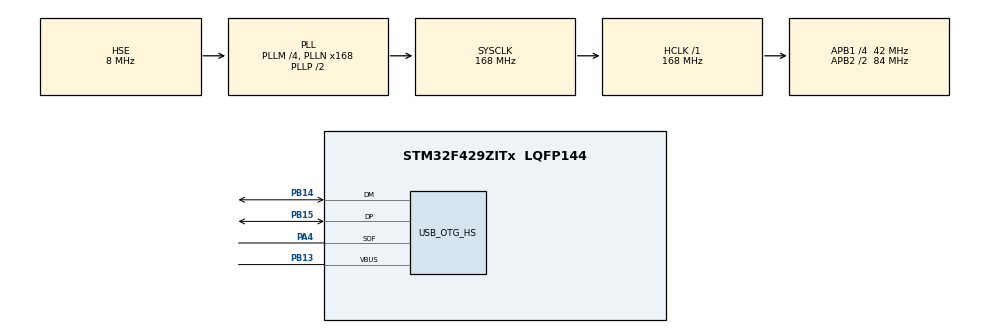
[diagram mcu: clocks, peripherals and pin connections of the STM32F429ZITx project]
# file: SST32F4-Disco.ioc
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Mcu.Family=STM32F4
Mcu.Name=STM32F429ZITx
Mcu.Package=LQFP144
NVIC.OTG_HS_IRQn=true\:0\:0\:false\:false\:true\:false\:true\:true
NVIC.PriorityGroup=NVIC_PRIORITYGROUP_0
PA13.Mode=Serial_Wire
PA13.Signal=SYS_JTMS-SWDIO
PA14.Mode=Serial_Wire
PA14.Signal=SYS_JTCK-SWCLK
PA4.Mode=Activate_SOF_FS
PA4.Signal=USB_OTG_HS_SOF
PB13.Mode=Activate_VBUS_FS
PB13.Signal=USB_OTG_HS_VBUS
PB14.Mode=Device_Only_FS
PB14.Signal=USB_OTG_HS_DM
PB15.Mode=Device_Only_FS
PB15.Signal=USB_OTG_HS_DP
PC14/OSC32_IN.Mode=LSE-External-Oscillator
PC14/OSC32_IN.Signal=RCC_OSC32_IN
PC15/OSC32_OUT.Mode=LSE-External-Oscillator
PC15/OSC32_OUT.Signal=RCC_OSC32_OUT
PH0/OSC_IN.Mode=HSE-External-Oscillator
PH0/OSC_IN.Signal=RCC_OSC_IN
PH1/OSC_OUT.Mode=HSE-External-Oscillator
PH1/OSC_OUT.Signal=RCC_OSC_OUT
ProjectManager.HeapSize=0x200
ProjectManager.StackSize=0x400
ProjectManager.TargetToolchain=STM32CubeIDE
RCC.48MHZClocksFreq_Value=48000000
RCC.AHBFreq_Value=168000000
RCC.APB1CLKDivider=RCC_HCLK_DIV4
RCC.APB1Freq_Value=42000000
RCC.APB1TimFreq_Value=84000000
RCC.APB2CLKDivider=RCC_HCLK_DIV2
RCC.APB2Freq_Value=84000000
RCC.APB2TimFreq_Value=168000000
RCC.CortexFreq_Value=168000000
RCC.EnbaleCSS=true
RCC.HCLKFreq_Value=168000000
RCC.HSE_VALUE=8000000
RCC.HSI_VALUE=16000000
RCC.PLLM=4
RCC.PLLN=168
RCC.PLLQ=7
RCC.PLLSourceVirtual=RCC_PLLSOURCE_HSE
RCC.SYSCLKFreq_VALUE=168000000
RCC.SYSCLKSource=RCC_SYSCLKSOURCE_PLLCLK
RCC.VCOOutputFreq_Value=336000000
USB_DEVICE.CLASS_NAME_HS=CDC
USB_DEVICE.VirtualMode-CDC_HS=Cdc
USB_DEVICE.VirtualModeHS=Cdc_HS
USB_OTG_HS.VirtualMode-Device_Only_FS=Device_Only_FS
VP_USB_DEVICE_VS_USB_DEVICE_CDC_HS.Mode=CDC_HS
board=STM32F429I-DISC1

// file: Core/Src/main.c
/* USER CODE BEGIN Header */
/**
 ******************************************************************************
 * @file           : main.c
 * @brief          : Main program body
 ******************************************************************************
 * @attention
 *
 * Copyright (c) 2025 STMicroelectronics.
 * All rights reserved.
 *
 * This software is licensed under terms that can be found in the LICENSE file
 * in the root directory of this software component.
 * If no LICENSE file comes with this software, it is provided AS-IS.
 *
 ******************************************************************************
 */
/* USER CODE END Header */
#include "main.h"
#include "usb_device.h"

/* USER CODE BEGIN Includes */
#include <stm32f4xx_hal_gpio.h>
#include <stm32f4xx_hal_exti.h>
/* USER CODE END Includes */
#include <stdio.h>
#include "usb_device.h"  // This contains the actual declaration
#include "usbd_cdc.h"  // Ensure this header is included
#include "usbd_cdc_if.h"

/* USER CODE BEGIN PD */
// LED and Button Definitions
#define USER_BUTTON_PIN GPIO_PIN_0
#define USER_BUTTON_PORT GPIOA
#define USER_LED_PIN GPIO_PIN_13
#define USER_LED_PORT GPIOG
/* USER CODE END PD */

/* USER CODE BEGIN PV */
// Add this global variable for debounce tracking
volatile uint32_t lastButtonPressTick = 0;
#define DEBOUNCE_DELAY_MS 100
/* USER CODE END PV */

void SystemClock_Config(void);
static void MX_GPIO_Init(void);

/* USER CODE BEGIN 0 */
// In your main.h or main.c (at file scope)
extern USBD_HandleTypeDef hUsbDeviceHS;  // Declaration only, no initialization

void GPIO_Init(void) {
	GPIO_InitTypeDef GPIO_InitStruct = { 0 };

	// Enable GPIO clocks
	__HAL_RCC_GPIOA_CLK_ENABLE();// For button
	__HAL_RCC_GPIOG_CLK_ENABLE();  // For LED

	// Configure User Button (PA0)
	GPIO_InitStruct.Pin = USER_BUTTON_PIN;
	GPIO_InitStruct.Mode = GPIO_MODE_IT_FALLING; // Falling edge for active-low button
	GPIO_InitStruct.Pull = GPIO_NOPULL;
	GPIO_InitStruct.Speed = GPIO_SPEED_FREQ_HIGH;
	HAL_GPIO_Init(USER_BUTTON_PORT, &GPIO_InitStruct);

	// Configure User LED (PG13)
	GPIO_InitStruct.Pin = USER_LED_PIN;
	GPIO_InitStruct.Mode = GPIO_MODE_OUTPUT_PP;
	GPIO_InitStruct.Pull = GPIO_NOPULL;
	GPIO_InitStruct.Speed = GPIO_SPEED_FREQ_LOW;
	HAL_GPIO_Init(USER_LED_PORT, &GPIO_InitStruct);

	// Turn off LED initially
	HAL_GPIO_WritePin(USER_LED_PORT, USER_LED_PIN, GPIO_PIN_RESET);
}

void EXTI_Init(void) {
	// Configure EXTI line 0 interrupt
	HAL_NVIC_SetPriority(EXTI0_IRQn, 0x0F, 0x0F);  // Lower priority
	HAL_NVIC_EnableIRQ(EXTI0_IRQn);
}

void EXTI0_IRQHandler(void) {
	HAL_GPIO_EXTI_IRQHandler(USER_BUTTON_PIN);
}

void HAL_GPIO_EXTI_Callback(uint16_t GPIO_Pin) {
	if (GPIO_Pin == USER_BUTTON_PIN) {
		uint32_t currentTick = HAL_GetTick();

		// Proper debounce check
		if ((currentTick - lastButtonPressTick) >= DEBOUNCE_DELAY_MS) {
			// Toggle LED only if debounce time has passed
			HAL_GPIO_TogglePin(USER_LED_PORT, USER_LED_PIN);

			// Update last press time
			lastButtonPressTick = currentTick;

			// Optional: Add any additional button press logic here
		}

		// The EXTI pending bit was already cleared by HAL_GPIO_EXTI_IRQHandler()
		// before this callback was invoked
	}
}

void VCP_SendString(const char* str) {
    if(!str || !*str || hUsbDeviceHS.dev_state != USBD_STATE_CONFIGURED) return;

    USBD_CDC_HandleTypeDef *hcdc = (USBD_CDC_HandleTypeDef*)hUsbDeviceHS.pClassData;
    if(hcdc->TxState == 0) {
        USBD_CDC_SetTxBuffer(&hUsbDeviceHS, (uint8_t*)str, (uint16_t)strlen(str));
        USBD_CDC_TransmitPacket(&hUsbDeviceHS);
    }
}
/* USER CODE END 0 */

int main(void)
{

  /* MCU Configuration--------------------------------------------------------*/

  /* Reset of all peripherals, Initializes the Flash interface and the Systick. */
  HAL_Init();

  /* Configure the system clock */
  SystemClock_Config();

  /* Initialize all configured peripherals */
  MX_GPIO_Init();
  MX_USB_DEVICE_Init();
  /* USER CODE BEGIN 2 */
	GPIO_Init();
	EXTI_Init();
	printf("board initialized");
  /* USER CODE END 2 */

  /* Infinite loop */
  /* USER CODE BEGIN WHILE */
	while (1) {
		printf("while\n");
		// Call this in your main code or interrupt
		char message[] = "Hello from STM32!\r\n";
		VCP_SendString((char*)message);
		HAL_Delay(100);
    /* USER CODE END WHILE */

	}
}

void SystemClock_Config(void)
{
  RCC_OscInitTypeDef RCC_OscInitStruct = {0};
  RCC_ClkInitTypeDef RCC_ClkInitStruct = {0};

  /** Configure the main internal regulator output voltage
  */
  __HAL_RCC_PWR_CLK_ENABLE();
  __HAL_PWR_VOLTAGESCALING_CONFIG(PWR_REGULATOR_VOLTAGE_SCALE1);

  /** Initializes the RCC Oscillators according to the specified parameters
  * in the RCC_OscInitTypeDef structure.
  */
  RCC_OscInitStruct.OscillatorType = RCC_OSCILLATORTYPE_HSE;
  RCC_OscInitStruct.HSEState = RCC_HSE_ON;
  RCC_OscInitStruct.PLL.PLLState = RCC_PLL_ON;
  RCC_OscInitStruct.PLL.PLLSource = RCC_PLLSOURCE_HSE;
  RCC_OscInitStruct.PLL.PLLM = 4;
  RCC_OscInitStruct.PLL.PLLN = 168;
  RCC_OscInitStruct.PLL.PLLP = RCC_PLLP_DIV2;
  RCC_OscInitStruct.PLL.PLLQ = 7;
  if (HAL_RCC_OscConfig(&RCC_OscInitStruct) != HAL_OK)
  {
    Error_Handler();
  }

  /** Initializes the CPU, AHB and APB buses clocks
  */
  RCC_ClkInitStruct.ClockType = RCC_CLOCKTYPE_HCLK|RCC_CLOCKTYPE_SYSCLK
                              |RCC_CLOCKTYPE_PCLK1|RCC_CLOCKTYPE_PCLK2;
  RCC_ClkInitStruct.SYSCLKSource = RCC_SYSCLKSOURCE_PLLCLK;
  RCC_ClkInitStruct.AHBCLKDivider = RCC_SYSCLK_DIV1;
  RCC_ClkInitStruct.APB1CLKDivider = RCC_HCLK_DIV4;
  RCC_ClkInitStruct.APB2CLKDivider = RCC_HCLK_DIV2;

  if (HAL_RCC_ClockConfig(&RCC_ClkInitStruct, FLASH_LATENCY_5) != HAL_OK)
  {
    Error_Handler();
  }

  /** Enables the Clock Security System
  */
  HAL_RCC_EnableCSS();
}

static void MX_GPIO_Init(void)
{

  /* GPIO Ports Clock Enable */
  __HAL_RCC_GPIOC_CLK_ENABLE();
  __HAL_RCC_GPIOH_CLK_ENABLE();
  __HAL_RCC_GPIOA_CLK_ENABLE();
  __HAL_RCC_GPIOB_CLK_ENABLE();

}

/* USER CODE BEGIN 4 */
/* Send a char through ITM */
int _write(int file, char *ptr, int len) {
  int DataIdx;
  for (DataIdx = 0; DataIdx < len; DataIdx++) {
    ITM_SendChar(*ptr++);
  }
  return len;
}
/* USER CODE END 4 */

/* USER CODE END 4 */

void Error_Handler(void)
{
  /* USER CODE BEGIN Error_Handler_Debug */
	/* User can add his own implementation to report the HAL error return state */
	__disable_irq();
	// Rapid LED blinking on error
	while (1) {
		HAL_GPIO_TogglePin(USER_LED_PORT, USER_LED_PIN);
		HAL_Delay(100);
	}
  /* USER CODE END Error_Handler_Debug */
}
